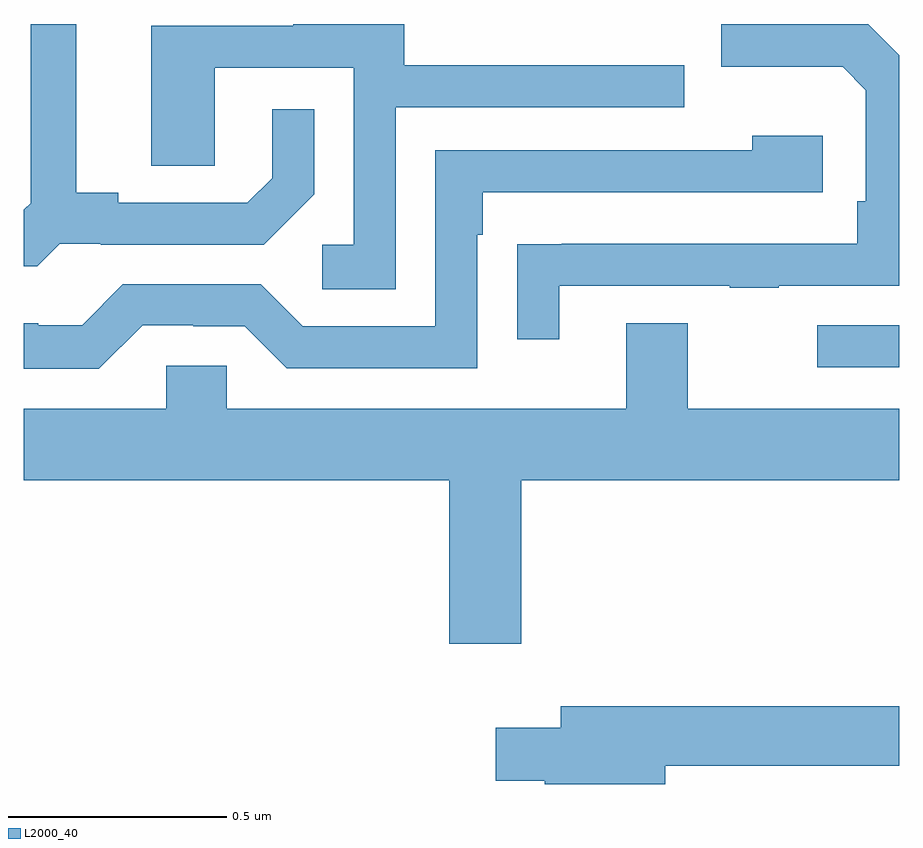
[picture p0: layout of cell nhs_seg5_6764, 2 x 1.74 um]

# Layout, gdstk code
import gdstk
lib = gdstk.Library(unit=1e-6, precision=1e-09)
def R(c, l, rs):  # rectangles x0, y0, x1, y1
    for r in rs: c.add(gdstk.rectangle(r[:2], r[2:], *l))
def P(c, l, *ps):  # polygons
    for p in ps: c.add(gdstk.Polygon(p, *l))
L2000_40 = (2000, 40)

nhs_seg5_6764 = lib.new_cell('nhs_seg5_6764')
R(nhs_seg5_6764, L2000_40, [(201.813,861.015,202,861.111)])
P(nhs_seg5_6764, L2000_40, [(200.85,861.609),(201.509,861.609),(201.509,861.705),(200.869,861.705),(200.869,861.799),(200.615,861.799),(200.615,861.795),(200.291,861.795),(200.291,861.475),(200.436,861.475),(200.436,861.699),(200.754,861.699),(200.754,861.294),(200.682,861.294),(200.682,861.193),(200.85,861.193)],
  [(201.223,861.201),(201.613,861.201),(201.613,861.196),(201.725,861.196),(201.725,861.201),(202,861.201),(202,861.728),(201.93,861.798),(201.69,861.798),(201.69,861.799),(201.594,861.799),(201.594,861.701),(201.871,861.701),(201.924,861.648),(201.924,861.394),(201.904,861.394),(201.904,861.297),(201.229,861.297),(201.229,861.296),(201.127,861.296),(201.127,861.078),(201.223,861.078)],
  [(200.082,861.297),(200.176,861.297),(200.176,861.294),(200.548,861.294),(200.664,861.41),(200.664,861.604),(200.567,861.604),(200.567,861.447),(200.51,861.39),(200.215,861.39),(200.215,861.413),(200.119,861.413),(200.119,861.799),(200.015,861.799),(200.015,861.389),(200,861.374),(200,861.245),(200.03,861.245)],
  [(200.271,861.111),(200.387,861.111),(200.387,861.108),(200.505,861.108),(200.601,861.012),(201.036,861.012),(201.036,861.317),(201.049,861.317),(201.049,861.414),(201.826,861.414),(201.826,861.544),(201.665,861.544),(201.665,861.51),(200.94,861.51),(200.94,861.108),(200.637,861.108),(200.541,861.204),(200.226,861.204),(200.133,861.111),(200.033,861.111),(200.033,861.115),(200,861.115),(200,861.011),(200.171,861.011)],
  [(201.136,860.756),(202,860.756),(202,860.92),(201.517,860.92),(201.517,861.115),(201.377,861.115),(201.377,860.92),(200.463,860.92),(200.463,861.018),(200.325,861.018),(200.325,860.92),(200,860.92),(200,860.756),(200.972,860.756),(200.972,860.382),(201.136,860.382)],
  [(201.466,860.104),(202,860.104),(202,860.24),(201.227,860.24),(201.227,860.191),(201.078,860.191),(201.078,860.069),(201.19,860.069),(201.19,860.062),(201.466,860.062)])

lib.write_gds('nhs_seg5_6764.gds')
